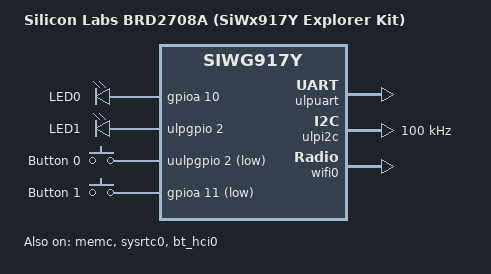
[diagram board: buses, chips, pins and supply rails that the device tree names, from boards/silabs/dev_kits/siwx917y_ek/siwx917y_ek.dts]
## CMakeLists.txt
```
# SPDX-License-Identifier: Apache-2.0

cmake_minimum_required(VERSION 3.20.0)

find_package(Zephyr REQUIRED HINTS $ENV{ZEPHYR_BASE})
project(blynk_mqtt_ota)

# Add your include directory for headers
zephyr_include_directories(include)

# Add your app source files
target_sources(app PRIVATE
    src/main.c
    src/mqtt_client.c
    #    src/ota_manager.c
    src/utils.c
    src/network_manager.c
)
```

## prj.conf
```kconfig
# ----------------------------------------
# Networking Configuration (Optimized)
# ----------------------------------------
CONFIG_WIFI=y

CONFIG_NETWORKING=y
CONFIG_NET_IPV4=y
CONFIG_NET_TCP=y
CONFIG_NET_UDP=y
CONFIG_NET_DHCPV4=y
CONFIG_NET_SOCKETS=y
CONFIG_NET_SOCKETS_SOCKOPT_TLS=y
CONFIG_NET_SOCKETS_POLL_MAX=4
CONFIG_NET_SOCKETS_TLS_MAX_CONTEXTS=1
CONFIG_NET_IF_MAX_IPV4_COUNT=1
CONFIG_NET_IF_UNICAST_IPV4_ADDR_COUNT=1
CONFIG_NET_CONFIG_SETTINGS=y
CONFIG_NET_CONFIG_AUTO_INIT=y
CONFIG_NET_CONFIG_NEED_IPV4=y
CONFIG_NET_CONFIG_MY_IPV4_ADDR=""
CONFIG_NET_CONFIG_MY_IPV4_NETMASK=""
CONFIG_NET_CONFIG_MY_IPV4_GW=""
CONFIG_NET_CONNECTION_MANAGER=y
CONFIG_NET_MGMT_EVENT_STACK_SIZE=768
CONFIG_NET_MGMT_EVENT_QUEUE_SIZE=3
CONFIG_NET_CONTEXT_NET_PKT_POOL=y
CONFIG_NET_MAX_CONTEXTS=4
CONFIG_NET_PKT_RX_COUNT=16
CONFIG_NET_PKT_TX_COUNT=8
CONFIG_NET_BUF_RX_COUNT=16
CONFIG_NET_BUF_TX_COUNT=8
CONFIG_NET_BUF_DATA_SIZE=1024
CONFIG_DNS_RESOLVER=y
CONFIG_DNS_SERVER_IP_ADDRESSES=y
CONFIG_DNS_SERVER1="8.8.8.8"
CONFIG_DNS_RESOLVER_ADDITIONAL_BUF_CTR=1

# ----------------------------------------
# MQTT Configuration (Minimal)
# ----------------------------------------
CONFIG_MQTT_LIB=y
CONFIG_MQTT_LIB_TLS=y

# ----------------------------------------
# TLS/SSL Configuration (Optimized)
# ----------------------------------------
CONFIG_TLS_CREDENTIALS=y
CONFIG_TLS_MAX_CREDENTIALS_NUMBER=2
CONFIG_MBEDTLS=n
CONFIG_MBEDTLS_BUILTIN=n
CONFIG_MBEDTLS_ENABLE_HEAP=n
# Remove less critical crypto algorithms
CONFIG_MBEDTLS_SHA1=n
CONFIG_MBEDTLS_SHA384=n

# ----------------------------------------
# Blynk OTA: Minimal crypto support
# ----------------------------------------
CONFIG_MBEDTLS_MD5=y
CONFIG_MBEDTLS_CIPHER=y

# ----------------------------------------
# CRC Support (lightweight)
# ----------------------------------------
CONFIG_CRC=y

# ----------------------------------------
# HTTP Client and JSON Support (Minimal)
# ----------------------------------------
CONFIG_HTTP_CLIENT=y
CONFIG_HTTP_PARSER=y
CONFIG_HTTP_PARSER_URL=y
CONFIG_JSON_LIBRARY=y

# ----------------------------------------
# Flash and Image Management (Optimized)
# ----------------------------------------
CONFIG_FLASH=y
CONFIG_FLASH_PAGE_LAYOUT=y
CONFIG_FLASH_MAP=y
CONFIG_STREAM_FLASH=y
CONFIG_IMG_MANAGER=y
CONFIG_IMG_ENABLE_IMAGE_CHECK=y
# Reduce logging level
CONFIG_IMG_MANAGER_LOG_LEVEL_WRN=y
CONFIG_MCUBOOT_IMG_MANAGER=y
CONFIG_BOOTLOADER_MCUBOOT=y
CONFIG_MCUBOOT_BOOTUTIL_LIB=y
CONFIG_MCUBOOT_SIGNATURE_KEY_FILE="bootloader/mcuboot/root-rsa-2048.pem"
CONFIG_MCUBOOT_GENERATE_CONFIRMED_IMAGE=y
CONFIG_MCUBOOT_IMGTOOL_SIGN_VERSION="1.1.7"
CONFIG_MCUBOOT_BOOTLOADER_MODE_SWAP_SCRATCH=y
CONFIG_USE_DT_CODE_PARTITION=y
CONFIG_MPU_ALLOW_FLASH_WRITE=y

# ----------------------------------------
# System Settings (Optimized)
# ----------------------------------------
CONFIG_POSIX_API=y
CONFIG_REQUIRES_FULL_LIBC=n
CONFIG_MINIMAL_LIBC=y
CONFIG_INIT_STACKS=n
CONFIG_STACK_CANARIES=n
CONFIG_REBOOT=y

# ----------------------------------------
# Thread and Stack Configuration (Reduced)
# ----------------------------------------
CONFIG_THREAD_NAME=n
CONFIG_THREAD_MONITOR=n
CONFIG_MAIN_STACK_SIZE=512
CONFIG_SYSTEM_WORKQUEUE_STACK_SIZE=512
CONFIG_NET_RX_STACK_SIZE=256
CONFIG_NET_TX_STACK_SIZE=256
CONFIG_HEAP_MEM_POOL_SIZE=2048

# ----------------------------------------
# Logging Configuration (Disabled for space)
# ----------------------------------------
CONFIG_LOG=n
CONFIG_CONSOLE=n
CONFIG_UART_CONSOLE=n
CONFIG_SERIAL=n
CONFIG_NET_LOG=n
CONFIG_NET_SHELL=n
CONFIG_MQTT_LOG_LEVEL_OFF=y
CONFIG_NET_TCP_LOG_LEVEL_OFF=y
CONFIG_NET_SOCKETS_LOG_LEVEL_OFF=y
CONFIG_NET_DHCPV4_LOG_LEVEL_OFF=y
CONFIG_NET_IF_LOG_LEVEL_OFF=y
CONFIG_SOCKS_LOG_LEVEL_OFF=y
CONFIG_NET_CONFIG_LOG_LEVEL_OFF=y
CONFIG_NET_CONNECTION_MANAGER_LOG_LEVEL_OFF=y
CONFIG_DNS_RESOLVER_LOG_LEVEL_OFF=y
CONFIG_NET_CONTEXT_LOG_LEVEL_OFF=y
CONFIG_MBEDTLS_DEBUG=n

# ----------------------------------------
# Additional Memory Optimizations
# ----------------------------------------
CONFIG_SHELL=n
CONFIG_KERNEL_SHELL=n
CONFIG_DEVICE_SHELL=n
CONFIG_DATE_SHELL=n
CONFIG_DEVMEM_SHELL=n
CONFIG_MCUBOOT_SHELL=n
CONFIG_FLASH_SHELL=n

# Optimize compiler settings
CONFIG_SIZE_OPTIMIZATIONS=y
CONFIG_COMPILER_OPT="-Os"

# ----------------------------------------
# Blynk OTA: Remove floating point if not needed
# ----------------------------------------
# Only enable if you actually need floating point operations
# CONFIG_NEWLIB_LIBC_FLOAT_PRINTF=n
# CONFIG_NEWLIB_LIBC_FLOAT_SCANF=n

# ----------------------------------------
# Blynk Configuration
# ----------------------------------------
CONFIG_CLOUD_BLYNK_TEMPLATE_ID="TMPLxxx"
CONFIG_CLOUD_BLYNK_AUTH_TOKEN="***"
CONFIG_CLOUD_BLYNK_TEMPLATE_NAME="sample"
CONFIG_CLOUD_BLYNK_SERVER_ADDR="blynk.cloud"
CONFIG_CLOUD_BLYNK_SERVER_PORT=8883
```

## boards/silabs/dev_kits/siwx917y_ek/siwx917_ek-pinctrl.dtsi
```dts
/*
 * Copyright (c) 2025 Silicon Laboratories Inc.
 * SPDX-License-Identifier: Apache-2.0
 */

#include <dt-bindings/pinctrl/silabs/siwx91x-pinctrl.h>

&pinctrl0 {
	ulpuart_default: ulpuart_default {
		group {
			pinmux = <ULPUART_TX_ULP11>, <ULPUART_RX_ULP9>;
		};
	};

	ulpi2c_default: ulpi2c_default {
		group {
			pinmux = <ULPI2C_SDA_ULP6>, <ULPI2C_SCL_ULP7>;
		};
	};
};
```

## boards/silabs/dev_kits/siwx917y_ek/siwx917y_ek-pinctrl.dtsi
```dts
/*
 * Copyright (c) 2025 Silicon Laboratories Inc.
 * SPDX-License-Identifier: Apache-2.0
 */

#include <dt-bindings/pinctrl/silabs/siwx91x-pinctrl.h>

&pinctrl0 {
	/* PSRAM configuration for 64-Mbit QSPI PSRAM */
	psram_default: psram_default {
		group {
			pinmux = <PSRAM_CLK_HP52>,    /* GPIO_52 */
				 <PSRAM_D0_HP53>,     /* GPIO_53 */
				 <PSRAM_D1_HP54>,     /* GPIO_54 */
				 <PSRAM_D2_HP56>,     /* GPIO_56 */
				 <PSRAM_D3_HP57>,     /* GPIO_57 */
				 <PSRAM_CSN0_HP55>;   /* GPIO_55 */
		};
	};

	/* UART configuration for Virtual COM Port */
	ulpuart_default: ulpuart_default {
		group {
			pinmux = <ULPUART_TX_ULP11>,  /* ULP_GPIO_11 */
				 <ULPUART_RX_ULP9>;   /* ULP_GPIO_9 */
		};
	};

	/* I2C configuration for Qwiic and mikroBUS */
	ulpi2c_default: ulpi2c_default {
		group {
			pinmux = <ULPI2C_SDA_ULP6>,   /* ULP_GPIO_6 */
				 <ULPI2C_SCL_ULP7>;   /* ULP_GPIO_7 */
		};
	};
};
```

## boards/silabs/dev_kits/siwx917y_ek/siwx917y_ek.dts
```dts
/*
 * Copyright (c) 2023 Antmicro
 * Copyright (c) 2024-2025 Silicon Laboratories Inc.
 * SPDX-License-Identifier: Apache-2.0
 */

/dts-v1/;
#include <silabs/siwg917m111mgtba.dtsi>
#include <dt-bindings/gpio/gpio.h>
#include <dt-bindings/input/input-event-codes.h>
#include <dt-bindings/pinctrl/silabs/siwx91x-pinctrl.h>
#include <common/freq.h>
#include "siwx917y_ek-pinctrl.dtsi"

/ {
	model = "Silicon Labs BRD2708A (SiWx917Y Explorer Kit)";
	compatible = "silabs,siwx917y_ek", "silabs,siwg917y";

	chosen {
		zephyr,sram = &sram0;
		zephyr,code-partition = &slot0_partition;
		zephyr,console = &ulpuart;
		zephyr,shell-uart = &ulpuart;
		zephyr,uart-pipe = &ulpuart;
		zephyr,bt-hci = &bt_hci0;
        zephyr,wifi = &wifi0;
	};

	aliases {
		led0 = &led0;
		led1 = &led1;
		sw0 = &button0;
		sw1 = &button1;
        wifi0 = &wifi0;
	};

	leds {
		compatible = "gpio-leds";

		led0: led_0 {
			gpios = <&gpioa 10 GPIO_ACTIVE_HIGH>;  /* GPIO_10 */
			label = "LED0";
		};

		led1: led_1 {
			gpios = <&ulpgpio 2 GPIO_ACTIVE_HIGH>; /* ULP_GPIO_2 */
			label = "LED1";
		};
	};

	buttons {
		compatible = "gpio-keys";

		button0: button_0 {
			gpios = <&uulpgpio 2 GPIO_ACTIVE_LOW>; /* UULP_VBAT_GPIO_2 */
			zephyr,code = <INPUT_KEY_0>;
			label = "Button 0";
		};

		button1: button_1 {
			gpios = <&gpioa 11 GPIO_ACTIVE_LOW>;   /* GPIO_11 */
			zephyr,code = <INPUT_KEY_1>;
			label = "Button 1";
		};
	};
};

&ulpuart {
	status = "okay";
	pinctrl-0 = <&ulpuart_default>;
	pinctrl-names = "default";
};

/* I2C for Qwiic connector and mikroBUS */
&ulpi2c {
	status = "okay";
	pinctrl-0 = <&ulpi2c_default>;
	pinctrl-names = "default";
	clock-frequency = <DT_FREQ_K(100)>;
};

&cpu0 {
	clock-frequency = <180000000>; /* 180 MHz as per spec */
};

&flash0 {
	partitions {
		compatible = "fixed-partitions";
		#address-cells = <1>;
		#size-cells = <1>;

		/* Reserve 32 kB for the bootloader */
		boot_partition: partition@0 {
			label = "mcuboot";
			reg = <0x0 0x00008000>;
			read-only;
		};

		/* Reserve 220 kB for the application in slot 0 */
		slot0_partition: partition@8000 {
			label = "image-0";
			reg = <0x00008000 0x00037000>;
		};

		/* Reserve 220 kB for the application in slot 1 */
		slot1_partition: partition@3f000 {
			label = "image-1";
			reg = <0x0003f000 0x00037000>;
		};

		/* Reserve 32 kB for the scratch partition */
		scratch_partition: partition@76000 {
			label = "image-scratch";
			reg = <0x00076000 0x00008000>;
		};

		/* Set 8Kb of storage at the end of the 512KB of flash */
		storage_partition: partition@7e000 {
			label = "storage";
			reg = <0x0007e000 0x00002000>;
		};
	};
};

/* PSRAM Configuration - 64 Mbit QSPI PSRAM */
&memc {
	clocks = <&clock0 SIWX91X_CLK_QSPI>;
	pinctrl-0 = <&psram_default>;
	pinctrl-names = "default";
	device-id = [ 0d 5d 00 00 00 00 00 00 ];
	fast-freq = <DT_FREQ_M(144)>;
	normal-freq = <DT_FREQ_M(33)>;
	status = "okay";

	psram: psram@a000000 {
		compatible = "zephyr,memory-region", "mmio-sram";
		reg = <0xa000000 DT_SIZE_M(8)>;  /* 64 Mbit = 8 MB */
		zephyr,memory-attr = <( DT_MEM_ARM(ATTR_MPU_RAM) )>;
		zephyr,memory-region = "psram";
	};
};

&sysrtc0 {
	status = "okay";
};

&bt_hci0 {
	status = "okay";
};

&wifi0 {
	status = "okay";
};
```

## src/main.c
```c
/*
 * SPDX-FileCopyrightText: 2025 Khrystyna Olkhovetska for Blynk Technologies Inc.
 * SPDX-License-Identifier: Apache-2.0
 */

#include <zephyr/logging/log.h>
LOG_MODULE_REGISTER(mqtt_blynk, LOG_LEVEL_INF);

#include <zephyr/kernel.h>
#include <zephyr/dfu/mcuboot.h>
#include <zephyr/net/socket.h>
#include <zephyr/sys/reboot.h>
#include <zephyr/random/random.h>
#include <string.h>
#include <math.h>
#include <stdio.h>

#include "root_certificates.h"
#include "mqtt_client.h"
#include "network_manager.h"
#include "ota_manager.h"
#include "utils.h"

BUILD_ASSERT(1 != sizeof(CONFIG_CLOUD_BLYNK_FIRMWARE_VERSION), "CONFIG_CLOUD_BLYNK_FIRMWARE_VERSION is required");
BUILD_ASSERT(1 != sizeof(CONFIG_CLOUD_BLYNK_TEMPLATE_NAME), "CONFIG_CLOUD_BLYNK_TEMPLATE_NAME is required");
BUILD_ASSERT(1 != sizeof(CONFIG_CLOUD_BLYNK_AUTH_TOKEN), "CONFIG_CLOUD_BLYNK_AUTH_TOKEN is required");
BUILD_ASSERT(1 != sizeof(CONFIG_CLOUD_BLYNK_TEMPLATE_ID), "CONFIG_CLOUD_BLYNK_TEMPLATE_ID is required");

bool power_on       = false;
float target_temp   = 23.0f;
float current_temp  = 15.0f;

/* Work items for periodic tasks */
static struct k_work_delayable device_update_work;

/* Function to get random publish interval */
static int get_random_publish_interval(void)
{
    return 10 + (sys_rand8_get() % 5); // 10-15 seconds
}

/* Publish firmware and device info message for Blynk OTA */
static void publish_firmware_info(void)
{
    char info_payload[512];

    /* Construct firmware info JSON matching Blynk specification */
    snprintf(info_payload, sizeof(info_payload),
        "{"
            "\"tmpl\":\"%s\","
            "\"ver\":\"%s\","
            "\"fw-type\":\"%s\","
            "\"build\":\"%s\","
            "\"blynk\":\"1.3.0\","
            "\"board\":\"%s\","
            "\"conn\":\"WiFi\","
            "\"rxbuff\":%d"
        "}",
        CONFIG_CLOUD_BLYNK_TEMPLATE_NAME,
        CONFIG_CLOUD_BLYNK_FIRMWARE_VERSION,
        CONFIG_CLOUD_BLYNK_FIRMWARE_TYPE,
        __DATE__ " " __TIME__,
        CONFIG_BOARD,
        APP_MQTT_BUFFER_SIZE
    );

    /* Publish to info/mcu topic - this is critical for Blynk OTA */
    publish_str("info/mcu", info_payload);

    LOG_INF("Published firmware info: type=%s, ver=%s",
            CONFIG_CLOUD_BLYNK_FIRMWARE_TYPE, CONFIG_CLOUD_BLYNK_FIRMWARE_VERSION);
}

/* Device simulation and business logic */
static void update_device_simulation(void)
{
    float target = power_on ? target_temp : 10.0f;

    /* Simulate temperature change */
    current_temp += (target - current_temp) * 0.05f;
    current_temp += ((0.5f - ((float)(sys_rand32_get() % 1000) / 1000.0f)) * 0.3f);
    current_temp = fminf(fmaxf(current_temp, 10.0f), 35.0f);

    /* Publish temperature */
    char temp_str[16];
    snprintf(temp_str, sizeof(temp_str), "%.2f", (double)current_temp);
    publish_str("ds/Current Temperature", temp_str);

    /* Calculate and publish state */
    int state = 1;  /* Off */
    if (power_on) {
        if (fabsf(current_temp - target_temp) < 1.0f) {
            state = 2;  /* At temperature */
        } else if (target_temp > current_temp) {
            state = 3;  /* Heating */
        } else {
            state = 4;  /* Cooling */
        }
    }

    /* State colors */
    const char *colors[] = { NULL, "E4F6F7", "E6F7E4", "F7EAE4", "E4EDF7" };

    char state_str[8];
    snprintf(state_str, sizeof(state_str), "%d", state);
    publish_str("ds/Status", state_str);

    if (colors[state]) {
        publish_str("ds/Status/prop/color", colors[state]);
    }
}

static void device_update_work_handler(struct k_work *work)
{
    update_device_simulation();
    k_work_reschedule(&device_update_work, K_SECONDS(get_random_publish_interval()));
}

static void handle_terminal_command(const char *payload)
{
    char cmd_buf[64];
    strncpy(cmd_buf, payload, sizeof(cmd_buf) - 1);
    cmd_buf[sizeof(cmd_buf) - 1] = '\0';

    char *cmd = strtok(cmd_buf, " \r\n");
    if (!cmd) {
        return;
    }

    if (strcmp(cmd, "set") == 0) {
        char *arg = strtok(NULL, " \r\n");
        if (arg) {
            target_temp = atof(arg);
            terminal_print("Temperature set");

            char val[16];
            snprintf(val, sizeof(val), "%.1f", (double)target_temp);
            publish_str("ds/Set Temperature", val);
        }
    } else if (strcmp(cmd, "on") == 0) {
        power_on = true;
        publish_str("ds/Power", "1");
        terminal_print("Turned ON");
    } else if (strcmp(cmd, "off") == 0) {
        power_on = false;
        publish_str("ds/Power", "0");
        terminal_print("Turned OFF");
    } else if (strcmp(cmd, "info") == 0) {
        /* Republish firmware info for testing */
        publish_firmware_info();
        terminal_print("Firmware info published");
    } else if (strcmp(cmd, "ota") == 0) {
        /* Test OTA with example payload */
        const char *test_ota =
            "{"
            "\"url\":\"https://blynk.cloud/static/test.bin?token=example\","
            "\"size\":32768,"
            "\"type\":\"" CONFIG_CLOUD_BLYNK_FIRMWARE_TYPE "\","
            "\"ver\":\"1.0.1\","
            "\"build\":\"Test Build\","
            "\"md5\":\"2F173423615FE972834523192623DF62\""
            "}";
        terminal_print("Testing OTA with MD5 verification...");
        // parse_ota_json_and_start(test_ota, strlen(test_ota));
    } else if ((strcmp(cmd, "help") == 0) || (strcmp(cmd, "?") == 0)) {
        terminal_print("Available commands:");
        terminal_print("  set N    - set target temperature");
        terminal_print("  on       - turn on");
        terminal_print("  off      - turn off");
        terminal_print("  info     - republish firmware info");
        terminal_print("  ota      - test OTA (demo)");
    } else {
        terminal_print("Unknown command");
    }
}

void handle_incoming_topic(const char *topic, const char *payload)
{
    LOG_INF("Received: %s -> %s", topic, payload);

    if (strcmp(topic, "downlink/ds/Power") == 0) {
        power_on = atoi(payload);
        publish_str("ds/Set Temperature/prop/isDisabled", power_on ? "0" : "1");
        update_device_simulation();
    } else if (strcmp(topic, "downlink/ds/Set Temperature") == 0) {
        target_temp = atof(payload);
        update_device_simulation();
    } else if (strcmp(topic, "downlink/ds/Terminal") == 0) {
        handle_terminal_command(payload);
        update_device_simulation();
    } else if (strcmp(topic, "downlink/reboot") == 0) {
        LOG_INF("Reboot requested");
        terminal_print("Rebooting...");
        k_sleep(K_SECONDS(1));
        sys_reboot(SYS_REBOOT_COLD);
    } else if (strcmp(topic, "downlink/redirect") == 0) {
        char new_host[128];
        uint16_t new_port;
        if (parse_url(payload, new_host, sizeof(new_host), &new_port)) {
            strncpy(broker_host, new_host, sizeof(broker_host) - 1);
            broker_port = new_port;
            LOG_INF("Redirecting to: %s:%d", broker_host, broker_port);

            abort_mqtt_connection();
            k_sem_give(&mqtt_start);
        } else {
            LOG_ERR("Failed to parse redirect URL: %s", payload);
        }
    /*} else if (strcmp(topic, "downlink/ota/json") == 0) {
        // This is the official Blynk OTA notification topic
        if (blynk_ota_ctx.in_progress) {
            LOG_WRN("OTA already in progress");
            terminal_print("OTA already in progress");
            return;
        }

        LOG_INF("Received Blynk OTA notification");
        terminal_print("Received OTA notification...");

        // Process the OTA notification according to Blynk specification
        int ret = parse_ota_json_and_start(payload, strlen(payload));
        if (ret) {
            LOG_ERR("Failed to process OTA notification: %d", ret);
            terminal_print("OTA notification processing failed");
        }*/
    } else if (strcmp(topic, "downlink/ping") == 0) {
        LOG_DBG("Ping received");
    }
}

/* MQTT connection established callback */
void on_mqtt_connected(void)
{
    /* Send welcome message */
    terminal_print("      ___  __          __");
    terminal_print("     / _ )/ /_ _____  / /__");
    terminal_print("    / _  / / // / _ \\ /  '_/");
    terminal_print("   /____/_/\\_, /_//_/_/\\_\\");
    terminal_print("          /___/");
    terminal_print("Type \"help\" for the list of available commands");

    /* Publish firmware and device info - this is critical for Blynk OTA */
    publish_firmware_info();
}

/* MQTT subscription successful callback */
void on_mqtt_subscribed(void)
{
    publish_str("get/ds", "Power,Set Temperature");

    /* Start periodic device updates */
    k_work_reschedule(&device_update_work, K_SECONDS(get_random_publish_interval()));
}

/* MQTT disconnected callback */
void on_mqtt_disconnected(void)
{
    /* Stop periodic updates */
    k_work_cancel_delayable(&device_update_work);
}

int tls_init(void)
{
    int err = tls_credential_add(APP_CA_CERT_TAG,
                                TLS_CREDENTIAL_CA_CERTIFICATE,
                                ca_certificate,
                                sizeof(ca_certificate));
    if (err < 0) {
        LOG_ERR("Failed to register public certificate: %d", err);
        return err;
    }
    return 0;
}

int main(void)
{
    int rc;

    LOG_INF("Firmware version: %s", CONFIG_CLOUD_BLYNK_FIRMWARE_VERSION);

    /* Initialize work items */
    k_work_init_delayable(&device_update_work, device_update_work_handler);

    /* Confirm boot image - CRITICAL for OTA */
    if (boot_is_img_confirmed() == 0) {
        int ret = boot_write_img_confirmed();
        if (ret == 0) {
            LOG_INF("Image confirmed successfully");
        } else {
            LOG_ERR("Failed to confirm image: %d", ret);
        }
    } else {
        LOG_INF("Image already confirmed");
    }

    /* Check configuration */
    if (strlen(CONFIG_CLOUD_BLYNK_AUTH_TOKEN) == 0) {
        LOG_ERR("Blynk auth token is empty. Check your configuration.");
        return -EINVAL;
    }

    /* Initialize TLS */
    rc = tls_init();
    if (rc) {
        return rc;
    }

    /* Initialize network manager */
    network_manager_init();

    /* Main loop */
    while (1) {
        k_sem_take(&mqtt_start, K_FOREVER);
        connect_to_cloud_and_publish();
    }

    return 0;
}
```

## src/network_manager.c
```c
/*
 * SPDX-FileCopyrightText: 2025 Khrystyna Olkhovetska for Blynk Technologies Inc.
 * SPDX-License-Identifier: Apache-2.0
 */
#include <zephyr/logging/log.h>
LOG_MODULE_REGISTER(net_mgr, LOG_LEVEL_INF);

#include <zephyr/kernel.h>
#include <zephyr/net/net_if.h>
#include <zephyr/net/net_mgmt.h>
#include <zephyr/net/net_event.h>
#include <zephyr/net/wifi_mgmt.h>
#include "network_manager.h"
#include "mqtt_client.h"

/* WiFi Configuration - Update these with your network credentials */
#define WIFI_SSID "BlackCatHome311"
#define WIFI_PSK  "ThereIsNoSpoon"

static bool network_connected = false;
static struct net_if *wifi_iface = NULL;
static struct wifi_connect_req_params wifi_config;

/* Work item for checking network connection */
static struct k_work_delayable check_network_conn;

/* WiFi event callback */
static struct net_mgmt_event_callback wifi_mgmt_cb;

bool is_network_connected(void)
{
    return network_connected;
}

static void wifi_event_handler(struct net_mgmt_event_callback *cb,
                              uint32_t mgmt_event,
                              struct net_if *iface)
{
    switch (mgmt_event) {
    case NET_EVENT_WIFI_CONNECT_RESULT: {
        LOG_INF("Connected to WiFi: %s", WIFI_SSID);
        /* Don't set network_connected here - wait for DHCP */
        k_work_reschedule(&check_network_conn, K_SECONDS(1));
        break;
    }
    case NET_EVENT_WIFI_DISCONNECT_RESULT: {
        LOG_INF("Disconnected from WiFi: %s", WIFI_SSID);
        network_connected = false;
        abort_mqtt_connection();
        k_work_cancel_delayable(&check_network_conn);
        /* Try to reconnect */
        k_work_reschedule(&check_network_conn, K_SECONDS(5));
        break;
    }
    default:
        break;
    }
}

static int connect_to_wifi(void)
{
    if (!wifi_iface) {
        LOG_ERR("WiFi interface not initialized");
        return -EIO;
    }

    /* Check if already connected */
    if (net_if_is_up(wifi_iface) && network_connected) {
        LOG_INF("WiFi already connected");
        return 0;
    }

    wifi_config.ssid = (const uint8_t *)WIFI_SSID;
    wifi_config.ssid_length = strlen(WIFI_SSID);
    wifi_config.psk = (const uint8_t *)WIFI_PSK;
    wifi_config.psk_length = strlen(WIFI_PSK);
    wifi_config.security = WIFI_SECURITY_TYPE_PSK;
    wifi_config.channel = WIFI_CHANNEL_ANY;
    wifi_config.band = WIFI_FREQ_BAND_2_4_GHZ;

    LOG_INF("Connecting to WiFi SSID: %s", WIFI_SSID);

    int ret = net_mgmt(NET_REQUEST_WIFI_CONNECT, wifi_iface, &wifi_config,
                      sizeof(struct wifi_connect_req_params));
    if (ret) {
        LOG_ERR("Failed to connect to WiFi (%s), err: %d", WIFI_SSID, ret);
    }

    return ret;
}

static void check_network_connection_work(struct k_work *work)
{
    struct net_if *iface;

    if (mqtt_connected) {
        return;
    }

    /* Get WiFi interface */
    if (!wifi_iface) {
        wifi_iface = net_if_get_wifi_sta();
        if (!wifi_iface) {
            LOG_ERR("WiFi STA interface not found");
            goto retry;
        }
    }

    iface = wifi_iface;

    /* Check if WiFi interface is up */
    if (!net_if_is_up(iface)) {
        LOG_DBG("WiFi interface is down, attempting connection");
        connect_to_wifi();
        goto retry;
    }

#if defined(CONFIG_NET_DHCPV4)
    /* Check DHCP state */
    if (iface->config.dhcpv4.state == NET_DHCPV4_BOUND) {
        if (!network_connected) {
            LOG_INF("Network connected - WiFi + DHCP ready");
            network_connected = true;
            k_sem_give(&mqtt_start);
        }
        return;
    } else {
        LOG_DBG("DHCP state: %d", iface->config.dhcpv4.state);
    }
#else
    /* For static IP, check if interface has IP */
    struct net_if_ipv4 *ipv4 = iface->config.ip.ipv4;
    if (ipv4 && ipv4->unicast[0].addr_state == NET_ADDR_PREFERRED) {
        if (!network_connected) {
            LOG_INF("Network connected - WiFi + Static IP ready");
            network_connected = true;
            k_sem_give(&mqtt_start);
        }
        return;
    }
#endif

retry:
    k_work_reschedule(&check_network_conn, K_SECONDS(3));
}

void network_manager_init(void)
{
    /* Initialize work item */
    k_work_init_delayable(&check_network_conn, check_network_connection_work);

    /* Setup WiFi event callback */
    net_mgmt_init_event_callback(&wifi_mgmt_cb,
                                wifi_event_handler,
                                NET_EVENT_WIFI_CONNECT_RESULT | NET_EVENT_WIFI_DISCONNECT_RESULT);
    net_mgmt_add_event_callback(&wifi_mgmt_cb);

    /* Get WiFi interface */
    wifi_iface = net_if_get_wifi_sta();
    if (!wifi_iface) {
        LOG_ERR("WiFi STA interface not found");
        return;
    }

    LOG_INF("WiFi Network Manager initialized");

    /* Start connection process */
    k_work_schedule(&check_network_conn, K_SECONDS(1));
}
```
